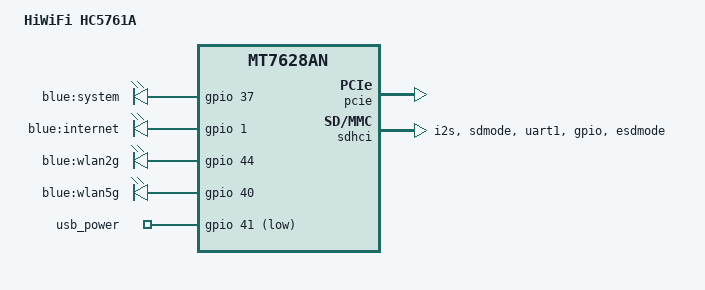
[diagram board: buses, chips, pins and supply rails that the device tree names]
// SPDX-License-Identifier: GPL-2.0-or-later OR MIT

#include "mt7628an_hiwifi_hc5x61a.dtsi"

/ {
	compatible = "hiwifi,hc5761a", "mediatek,mt7628an-soc";
	model = "HiWiFi HC5761A";

	leds {
		compatible = "gpio-leds";

		led_system: system {
			label = "blue:system";
			gpios = <&gpio 37 GPIO_ACTIVE_HIGH>;
		};

		internet {
			label = "blue:internet";
			gpios = <&gpio 1 GPIO_ACTIVE_HIGH>;
		};

		wlan2g {
			label = "blue:wlan2g";
			gpios = <&gpio 44 GPIO_ACTIVE_HIGH>;
			linux,default-trigger = "phy0tpt";
		};

		wlan5g {
			label = "blue:wlan5g";
			gpios = <&gpio 40 GPIO_ACTIVE_HIGH>;
			linux,default-trigger = "phy1tpt";
		};
	};

	gpio_export {
		compatible = "gpio-export";
		#size-cells = <0>;

		usb_power {
			gpio-export,name = "usb_power";
			gpio-export,output = <0>;
			gpios = <&gpio 41 GPIO_ACTIVE_LOW>;
		};
	};
};

&pinctrl {
	sdxc_router_pins: sdxc_router_mode {
		gpio {
			groups = "i2s", "sdmode", "uart1", "gpio";
			function = "gpio";
		};

		esdmode {
			groups = "esdmode";
			function = "sdxc";
		};
	};

	state_default: pinctrl0 {
		gpio {
			groups = "i2c", "refclk", "wdt", "p2led_an", "p3led_an", "wled_an";
			function = "gpio";
		};
	};
};

&pcie {
	status = "okay";
};

&pcie0 {
	wifi@0,0 {
		reg = <0x0000 0 0 0 0>;
		mediatek,mtd-eeprom = <&factory 0x8000>;
		ieee80211-freq-limit = <5000000 6000000>;
	};
};

&sdhci {
	status = "okay";
	pinctrl-0 = <&sdxc_router_pins>;
};
